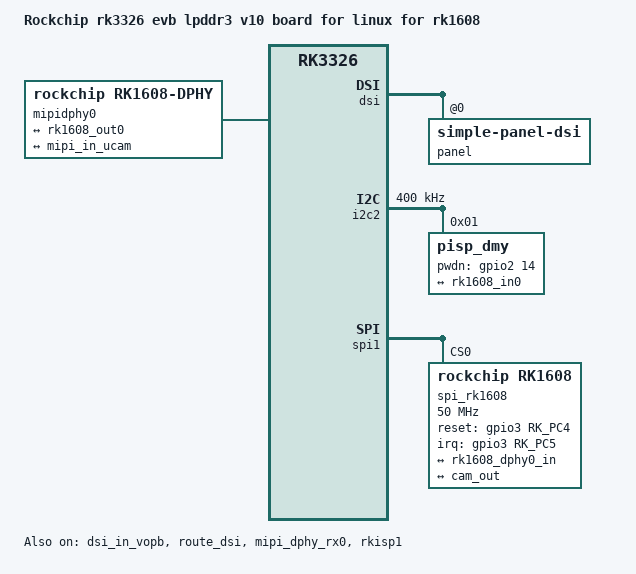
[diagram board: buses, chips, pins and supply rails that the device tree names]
// SPDX-License-Identifier: (GPL-2.0+ OR MIT)
/*
 * Copyright (c) 2018 Fuzhou Rockchip Electronics Co., Ltd
 */

/dts-v1/;
#include "rk3326-evb-lp3-v10-linux.dts"

#define LINK_FREQ		400000000

/ {
	model = "Rockchip rk3326 evb lpddr3 v10 board for linux for rk1608";

	mipidphy0: mipidphy0 {
		compatible =  "rockchip,rk1608-dphy";
		status = "okay";
		rockchip,grf = <&grf>;
		id = <0>;

		cam_nums = <1>;
		data_type = <0x2c>;
		in_mipi = <2>;
		out_mipi = <1>;
		mipi_lane = <2>;

		sensor_i2c_bus = <1>;
		sensor_i2c_addr = <0x78>;
		sensor-name = "OPN8008";

		field = <1>;
		colorspace = <8>;
		code = <MEDIA_BUS_FMT_SRGGB12_1X12>;
		width = <328>;
		height= <744>;

		htotal = <650>;
		vtotal = <900>;
		link-freqs = /bits/ 64 <LINK_FREQ>;

		inch0-info = <328 744 0x2c 0x2c 1>;
		outch0-info = <328 744 0x2c 0x2c 1>;

		rockchip,camera-module-index = <0>;
		rockchip,camera-module-facing = "back";
		rockchip,camera-module-name = "TongJu";
		rockchip,camera-module-lens-name = "CHT842-MD";

		ports {
			#address-cells = <1>;
			#size-cells = <0>;

			port@0 {
				rk1608_dphy0_in: endpoint {
					remote-endpoint = <&rk1608_out0>;
				};
			};
			port@1 {
				rk1608_dphy_out: endpoint {
					remote-endpoint = <&mipi_in_ucam>;
					clock-lanes = <0>;
					data-lanes = <1 2>;
					clock-noncontinuous;
					link-frequencies =
						/bits/ 64 <LINK_FREQ>;
				};
			};
		};
	};
};

&dsi {
	status = "okay";

	panel@0 {
		compatible = "simple-panel-dsi";
		reg = <0>;
		dsi,flags = <(MIPI_DSI_MODE_VIDEO | MIPI_DSI_MODE_VIDEO_BURST |
			      MIPI_DSI_MODE_LPM | MIPI_DSI_MODE_EOT_PACKET)>;
		dsi,format = <MIPI_DSI_FMT_RGB888>;
		dsi,lanes = <4>;

		display-timings {
			native-mode = <&timing0>;

			timing0: timing0 {
				clock-frequency = <66000000>;
				hactive = <720>;
				vactive = <1280>;
				hfront-porch = <40>;
				hsync-len = <10>;
				hback-porch = <40>;
				vfront-porch = <22>;
				vsync-len = <4>;
				vback-porch = <11>;
				hsync-active = <0>;
				vsync-active = <0>;
				de-active = <0>;
				pixelclk-active = <0>;
			};
		};
	};
};

&dsi_in_vopb {
	status = "okay";
};

&dsi_in_vopl {
	status = "disabled";
};

&route_dsi {
	connect = <&vopb_out_dsi>;
	status = "okay";
};

&i2c2 {
	status = "okay";
	clock-frequency = <400000>;

	/* 24M mclk is shared for multiple cameras */
	pinctrl-0 = <&i2c2_xfer &cif_clkout_m0>;

	/* These are relatively safe rise/fall times; TODO: measure */
	i2c-scl-falling-time-ns = <50>;
	i2c-scl-rising-time-ns = <300>;

	pisp_dmy: pisp_dmy@1 {
		compatible = "pisp_dmy";
		status = "okay";
		reg = <0x1>;
		clocks = <&cru SCLK_CIF_OUT>;
		clock-names = "xvclk";

		pwdn-gpios = <&gpio2 14 GPIO_ACTIVE_HIGH>;

		rockchip,camera-module-index = <0>;
		rockchip,camera-module-facing = "back";
		rockchip,camera-module-name = "TongJu";
		rockchip,camera-module-lens-name = "CHT842-MD";

		port {
			cam_out: endpoint {
				remote-endpoint = <&rk1608_in0>;
				data-lanes = <1 2>;
			};
		};
	};
};

&mipi_dphy_rx0 {
	status = "okay";

	ports {
		#address-cells = <1>;
		#size-cells = <0>;

		port@0 {
			reg = <0>;
			#address-cells = <1>;
			#size-cells = <0>;

			mipi_in_ucam: endpoint@1 {
				reg = <1>;
				remote-endpoint = <&rk1608_dphy_out>;
				data-lanes = <1 2>;
			};
		};

		port@1 {
			reg = <1>;
			#address-cells = <1>;
			#size-cells = <0>;

			dphy_rx0_out: endpoint@0 {
				reg = <0>;
				remote-endpoint = <&isp0_mipi_in>;
			};
		};
	};
};

&rkisp1 {
	status = "okay";

	port {
		#address-cells = <1>;
		#size-cells = <0>;

		isp0_mipi_in: endpoint@0 {
			reg = <0>;
			remote-endpoint = <&dphy_rx0_out>;
		};
	};
};

&spi1 {
	status = "okay";
	assigned-clocks = <&cru SCLK_SPI1>;
	assigned-clock-rates = <100000000>;
	rx-sample-delay-ns = <10>;

	spi_rk1608@00 {
		compatible =  "rockchip,rk1608";
		status = "okay";
		reg = <0>;
		spi-max-frequency = <50000000>;
		spi-min-frequency = <16000000>;

		clocks = <&cru SCLK_CIF_OUT>;
		clock-names = "mclk";

		firmware-names = "rk1608.rkl";

		reset-gpios = <&gpio3 RK_PC4 GPIO_ACTIVE_HIGH>;
		irq-gpios = <&gpio3 RK_PC5 GPIO_ACTIVE_HIGH>;

		pinctrl-names = "default";
		pinctrl-0 = <&preisp_irq_gpios &preisp_sleep_gpios
			&preisp_reset_gpios>;

		/* regulator config */
		vdd-core-regulator = "vdd_preisp";
		vdd-core-microvolt = <1150000>;
		ports {
			#address-cells = <1>;
			#size-cells = <0>;
			port@0 {
				#address-cells = <1>;
				#size-cells = <0>;

				reg = <0>;
				rk1608_out0: endpoint@0 {
					reg = <0>;
					remote-endpoint = <&rk1608_dphy0_in>;
				};
			};

			port@1 {
				#address-cells = <1>;
				#size-cells = <0>;

				reg = <1>;
				rk1608_in0: endpoint@0 {
					reg = <0>;
					remote-endpoint = <&cam_out>;
				};
			};
		};
	};
};

&pinctrl {
	preisp_reset_gpios {
		preisp_reset_gpios: preisp_reset_gpios {
			rockchip,pins = <3 RK_PC4 RK_FUNC_GPIO &pcfg_pull_up>;
		};
	};

	preisp_irq_gpios {
		preisp_irq_gpios: preisp_irq_gpios {
			rockchip,pins = <3 RK_PC5 RK_FUNC_GPIO &pcfg_pull_up>;
		};
	};

	/*preisp_wake_gpios {
		preisp_wake_gpios: preisp_wake_gpios {
			rockchip,pins = <6 4 RK_FUNC_GPIO &pcfg_pull_none>;
		};
	};*/

	preisp_sleep_gpios {
		preisp_sleep_gpios: preisp_sleep_gpios {
			rockchip,pins = <3 RK_PB3 RK_FUNC_GPIO &pcfg_pull_none>;
		};
	};
};

/* DON'T PUT ANYTHING BELOW HERE.  PUT IT ABOVE PINCTRL */
